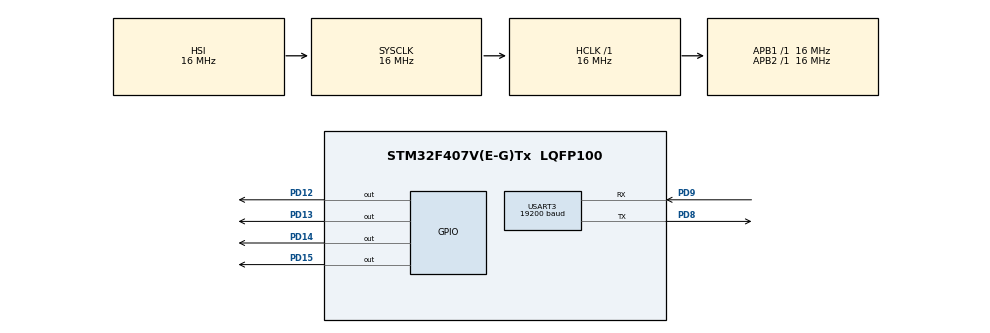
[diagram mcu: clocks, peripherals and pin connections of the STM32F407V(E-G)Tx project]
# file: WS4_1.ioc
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Mcu.Family=STM32F4
Mcu.Name=STM32F407V(E-G)Tx
Mcu.Package=LQFP100
NVIC.PriorityGroup=NVIC_PRIORITYGROUP_4
PD12.Signal=GPIO_Output
PD13.Signal=GPIO_Output
PD14.Signal=GPIO_Output
PD15.Signal=GPIO_Output
PD8.Mode=Asynchronous
PD8.Signal=USART3_TX
PD9.Mode=Asynchronous
PD9.Signal=USART3_RX
ProjectManager.HeapSize=0x200
ProjectManager.StackSize=0x400
ProjectManager.TargetToolchain=STM32CubeIDE
RCC.AHBFreq_Value=16000000
RCC.APB1Freq_Value=16000000
RCC.APB2Freq_Value=16000000
RCC.CortexFreq_Value=16000000
RCC.HSE_VALUE=25000000
RCC.HSI_VALUE=16000000
RCC.LSE_VALUE=32768
RCC.SYSCLKFreq_VALUE=16000000
RCC.VCOOutputFreq_Value=192000000
USART3.BaudRate=19200
USART3.VirtualMode=VM_ASYNC
board=custom

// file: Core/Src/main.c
/* USER CODE BEGIN Header */
/**
  ******************************************************************************
  * @file           : main.c
  * @brief          : Main program body
  ******************************************************************************
  * @attention
  *
  * Copyright (c) 2024 STMicroelectronics.
  * All rights reserved.
  *
  * This software is licensed under terms that can be found in the LICENSE file
  * in the root directory of this software component.
  * If no LICENSE file comes with this software, it is provided AS-IS.
  *
  ******************************************************************************
  */
/* USER CODE END Header */
#include "main.h"

UART_HandleTypeDef huart3;

void SystemClock_Config(void);
static void MX_GPIO_Init(void);
static void MX_USART3_UART_Init(void);

int main(void)
{

  /* MCU Configuration--------------------------------------------------------*/

  /* Reset of all peripherals, Initializes the Flash interface and the Systick. */
  HAL_Init();

  /* Configure the system clock */
  SystemClock_Config();

  /* Initialize all configured peripherals */
  MX_GPIO_Init();
  MX_USART3_UART_Init();

  /* Infinite loop */
  /* USER CODE BEGIN WHILE */
  while (1)
  {
	  void transmit(const char* str) {
	  	HAL_UART_Transmit(&huart3, (uint8_t*) str, strlen(str), 100);
	  }

	  uint8_t rcvBuf[1];
	       HAL_StatusTypeDef result;

	       result = HAL_UART_Receive(&huart3, rcvBuf, 1, 10);

	       if (result == HAL_OK)
	       {
	           switch (rcvBuf[0])
	           {
	 		  case '1':
	 			  HAL_GPIO_WritePin(GPIOD, GPIO_PIN_15, GPIO_PIN_SET);
	 			  transmit(" - Blue ON\r\n");
	 			  break;

	 		  case '2':
	 			 HAL_GPIO_WritePin(GPIOD, GPIO_PIN_15, GPIO_PIN_RESET);
	 			 transmit(" - Blue OFF\r\n");
	 			  break;

	 		  case '3':
	 			 HAL_GPIO_WritePin(GPIOD, GPIO_PIN_14, GPIO_PIN_SET);
	 			 transmit(" - Red ON\r\n");
	 			  break;

	 		  case '4':
	 			 HAL_GPIO_WritePin(GPIOD, GPIO_PIN_14, GPIO_PIN_RESET);
	 			 transmit(" - Red OFF\r\n");
	 			  break;

	 		  case '5':
	 			 HAL_GPIO_WritePin(GPIOD, GPIO_PIN_13, GPIO_PIN_SET);
	 			 transmit(" - Orange ON\r\n");
	 			  break;

	 		  case '6':
	 			 HAL_GPIO_WritePin(GPIOD, GPIO_PIN_13, GPIO_PIN_RESET);
	 			 transmit(" -Orange OFF\r\n");
	 			  break;

	 		  case '7':
	 			 HAL_GPIO_WritePin(GPIOD, GPIO_PIN_12, GPIO_PIN_SET);
	 			 transmit(" - Green ON\r\n");
	 			  break;

	 		  case '8':
	 			 HAL_GPIO_WritePin(GPIOD, GPIO_PIN_12, GPIO_PIN_RESET);
	 			 transmit(" - Green OFF\r\n");
	 			  break;

	 		  case '9':
	 			 HAL_GPIO_WritePin(GPIOD, GPIO_PIN_15, GPIO_PIN_SET);
	 			 HAL_GPIO_WritePin(GPIOD, GPIO_PIN_14, GPIO_PIN_SET);
	 			 HAL_GPIO_WritePin(GPIOD, GPIO_PIN_13, GPIO_PIN_SET);
	 			 HAL_GPIO_WritePin(GPIOD, GPIO_PIN_12, GPIO_PIN_SET);
	 			 transmit(" - All ON\r\n");
	 			  break;

	 		  case '0':
	 			 HAL_GPIO_WritePin(GPIOD, GPIO_PIN_15, GPIO_PIN_RESET);
	 			 HAL_GPIO_WritePin(GPIOD, GPIO_PIN_14, GPIO_PIN_RESET);
	 			 HAL_GPIO_WritePin(GPIOD, GPIO_PIN_13, GPIO_PIN_RESET);
	 			 HAL_GPIO_WritePin(GPIOD, GPIO_PIN_12, GPIO_PIN_RESET);
	 			 transmit(" - All OFF\r\n");
	 			  break;

	 		  default:
	 			 transmit(" - UnexpCmd\r\n");
	 			  break;
	           }
	       }

    /* USER CODE END WHILE */

  }
}

void SystemClock_Config(void)
{
  RCC_OscInitTypeDef RCC_OscInitStruct = {0};
  RCC_ClkInitTypeDef RCC_ClkInitStruct = {0};

  /** Configure the main internal regulator output voltage
  */
  __HAL_RCC_PWR_CLK_ENABLE();
  __HAL_PWR_VOLTAGESCALING_CONFIG(PWR_REGULATOR_VOLTAGE_SCALE1);

  /** Initializes the RCC Oscillators according to the specified parameters
  * in the RCC_OscInitTypeDef structure.
  */
  RCC_OscInitStruct.OscillatorType = RCC_OSCILLATORTYPE_HSI;
  RCC_OscInitStruct.HSIState = RCC_HSI_ON;
  RCC_OscInitStruct.HSICalibrationValue = RCC_HSICALIBRATION_DEFAULT;
  RCC_OscInitStruct.PLL.PLLState = RCC_PLL_NONE;
  if (HAL_RCC_OscConfig(&RCC_OscInitStruct) != HAL_OK)
  {
    Error_Handler();
  }

  /** Initializes the CPU, AHB and APB buses clocks
  */
  RCC_ClkInitStruct.ClockType = RCC_CLOCKTYPE_HCLK|RCC_CLOCKTYPE_SYSCLK
                              |RCC_CLOCKTYPE_PCLK1|RCC_CLOCKTYPE_PCLK2;
  RCC_ClkInitStruct.SYSCLKSource = RCC_SYSCLKSOURCE_HSI;
  RCC_ClkInitStruct.AHBCLKDivider = RCC_SYSCLK_DIV1;
  RCC_ClkInitStruct.APB1CLKDivider = RCC_HCLK_DIV1;
  RCC_ClkInitStruct.APB2CLKDivider = RCC_HCLK_DIV1;

  if (HAL_RCC_ClockConfig(&RCC_ClkInitStruct, FLASH_LATENCY_0) != HAL_OK)
  {
    Error_Handler();
  }
}

static void MX_USART3_UART_Init(void)
{

  huart3.Instance = USART3;
  huart3.Init.BaudRate = 19200;
  huart3.Init.WordLength = UART_WORDLENGTH_8B;
  huart3.Init.StopBits = UART_STOPBITS_1;
  huart3.Init.Parity = UART_PARITY_NONE;
  huart3.Init.Mode = UART_MODE_TX_RX;
  huart3.Init.HwFlowCtl = UART_HWCONTROL_NONE;
  huart3.Init.OverSampling = UART_OVERSAMPLING_16;
  if (HAL_UART_Init(&huart3) != HAL_OK)
  {
    Error_Handler();
  }

}

static void MX_GPIO_Init(void)
{
  GPIO_InitTypeDef GPIO_InitStruct = {0};

  /* GPIO Ports Clock Enable */
  __HAL_RCC_GPIOD_CLK_ENABLE();

  /*Configure GPIO pin Output Level */
  HAL_GPIO_WritePin(GPIOD, GPIO_PIN_12|GPIO_PIN_13|GPIO_PIN_14|GPIO_PIN_15, GPIO_PIN_RESET);

  /*Configure GPIO pins : PD12 PD13 PD14 PD15 */
  GPIO_InitStruct.Pin = GPIO_PIN_12|GPIO_PIN_13|GPIO_PIN_14|GPIO_PIN_15;
  GPIO_InitStruct.Mode = GPIO_MODE_OUTPUT_PP;
  GPIO_InitStruct.Pull = GPIO_NOPULL;
  GPIO_InitStruct.Speed = GPIO_SPEED_FREQ_LOW;
  HAL_GPIO_Init(GPIOD, &GPIO_InitStruct);

}

void Error_Handler(void)
{
  __disable_irq();
  while (1)
  {
  }
}
